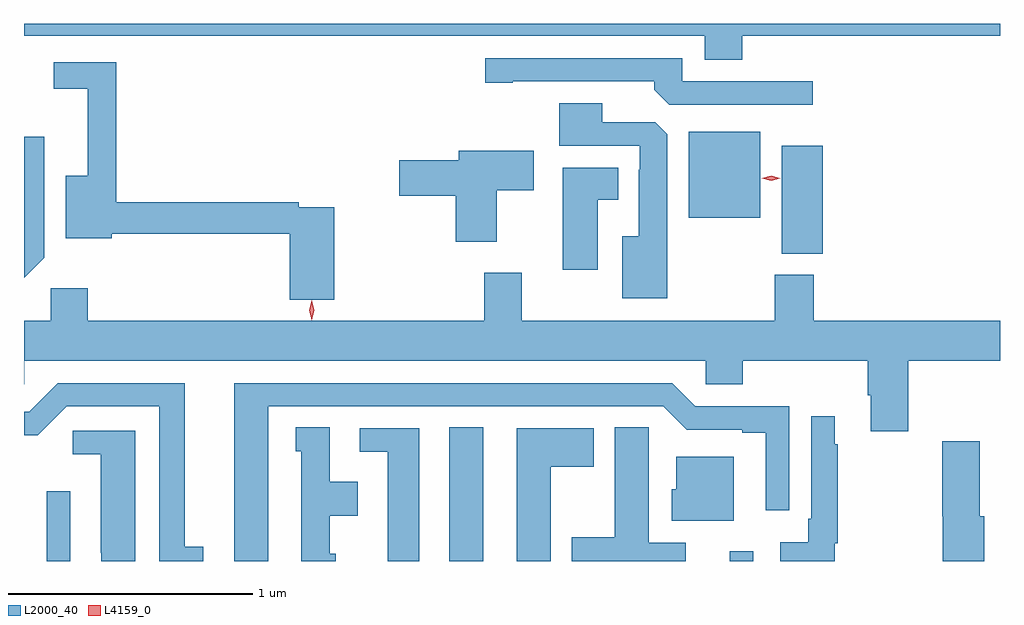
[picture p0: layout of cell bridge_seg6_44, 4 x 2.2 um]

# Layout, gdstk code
import gdstk
lib = gdstk.Library(unit=1e-6, precision=1e-09)
def R(c, l, rs):  # rectangles x0, y0, x1, y1
    for r in rs: c.add(gdstk.rectangle(r[:2], r[2:], *l))
def P(c, l, *ps):  # polygons
    for p in ps: c.add(gdstk.Polygon(p, *l))
L2000_40 = (2000, 40)
L4159_0 = (4159, 0)

bridge_seg6_44 = lib.new_cell('bridge_seg6_44')
R(bridge_seg6_44, L2000_40, [(1092.519,995.798,1092.615,996.085), (1094.168,995.798,1094.308,996.347), (1095.317,995.798,1095.414,995.839), (1095.53,997.057,1095.698,997.501), (1095.149,997.205,1095.442,997.558)])
P(bridge_seg6_44, L2000_40, [(1095.368,997.952),(1096.425,997.952),(1096.425,998),(1092.425,998),(1092.425,997.952),(1095.215,997.952),(1095.215,997.853),(1095.368,997.853)],
  [(1095.658,997.764),(1095.123,997.764),(1095.123,997.86),(1094.316,997.86),(1094.316,997.759),(1094.428,997.759),(1094.428,997.764),(1095.008,997.764),(1095.008,997.73),(1095.069,997.668),(1095.658,997.668)],
  [(1093.697,997.248),(1093.55,997.248),(1093.55,997.268),(1092.803,997.268),(1092.803,997.842),(1092.546,997.842),(1092.546,997.734),(1092.686,997.734),(1092.686,997.378),(1092.596,997.378),(1092.596,997.121),(1092.784,997.121),(1092.784,997.14),(1093.514,997.14),(1093.514,996.869),(1093.697,996.869)],
  [(1095.061,997.547),(1095.012,997.596),(1094.794,997.596),(1094.794,997.675),(1094.618,997.675),(1094.618,997.5),(1094.949,997.5),(1094.949,997.403),(1094.945,997.403),(1094.945,997.129),(1094.876,997.129),(1094.876,996.875),(1095.061,996.875)],
  [(1092.507,997.041),(1092.507,997.537),(1092.425,997.537),(1092.425,996.959)],
  [(1094.362,997.318),(1094.515,997.318),(1094.515,997.48),(1094.207,997.48),(1094.207,997.442),(1093.962,997.442),(1093.962,997.295),(1094.195,997.295),(1094.195,997.107),(1094.362,997.107)],
  [(1094.776,997.28),(1094.86,997.28),(1094.86,997.411),(1094.633,997.411),(1094.633,996.993),(1094.776,996.993)],
  [(1096.049,996.62),(1096.425,996.62),(1096.425,996.784),(1095.662,996.784),(1095.662,996.972),(1095.502,996.972),(1095.502,996.784),(1094.464,996.784),(1094.464,996.979),(1094.312,996.979),(1094.312,996.784),(1092.686,996.784),(1092.686,996.916),(1092.534,996.916),(1092.534,996.784),(1092.425,996.784),(1092.425,996.522),(1092.426,996.522),(1092.426,996.62),(1095.219,996.62),(1095.219,996.522),(1095.371,996.522),(1095.371,996.62),(1095.884,996.62),(1095.884,996.478),(1095.896,996.478),(1095.896,996.33),(1096.049,996.33)],
  [(1093.426,996.432),(1095.045,996.432),(1095.141,996.336),(1095.368,996.336),(1095.368,996.324),(1095.464,996.324),(1095.464,996.006),(1095.561,996.006),(1095.561,996.432),(1095.177,996.432),(1095.081,996.528),(1093.286,996.528),(1093.286,995.798),(1093.426,995.798)],
  [(1093.159,995.858),(1093.084,995.858),(1093.084,996.528),(1092.564,996.528),(1092.447,996.411),(1092.425,996.411),(1092.425,996.314),(1092.482,996.314),(1092.6,996.432),(1092.98,996.432),(1092.98,995.798),(1093.159,995.798)],
  [(1095.748,995.871),(1095.76,995.871),(1095.76,996.278),(1095.748,996.278),(1095.748,996.391),(1095.651,996.391),(1095.651,995.971),(1095.639,995.971),(1095.639,995.875),(1095.524,995.875),(1095.524,995.798),(1095.748,995.798)],
  [(1093.702,995.829),(1093.678,995.829),(1093.678,995.984),(1093.792,995.984),(1093.792,996.124),(1093.678,996.124),(1093.678,996.347),(1093.538,996.347),(1093.538,996.249),(1093.562,996.249),(1093.562,995.798),(1093.702,995.798)],
  [(1095.137,995.874),(1094.986,995.874),(1094.986,996.236),(1094.985,996.236),(1094.985,996.347),(1094.846,996.347),(1094.846,995.895),(1094.669,995.895),(1094.669,995.798),(1095.137,995.798)],
  [(1094.584,996.184),(1094.761,996.184),(1094.761,996.343),(1094.444,996.343),(1094.444,995.833),(1094.445,995.833),(1094.445,995.798),(1094.584,995.798)],
  [(1094.044,996.342),(1093.8,996.342),(1093.8,996.246),(1093.916,996.246),(1093.916,995.798),(1094.044,995.798)],
  [(1092.88,996.333),(1092.624,996.333),(1092.624,996.236),(1092.74,996.236),(1092.74,995.833),(1092.741,995.833),(1092.741,995.798),(1092.88,995.798)],
  [(1096.361,995.982),(1096.343,995.982),(1096.343,996.289),(1096.189,996.289),(1096.189,995.982),(1096.19,995.982),(1096.19,995.798),(1096.361,995.798)],
  [(1095.334,996.226),(1095.098,996.226),(1095.098,996.093),(1095.08,996.093),(1095.08,995.963),(1095.334,995.963)])
P(bridge_seg6_44, L4159_0, [(1095.487,997.358),(1095.449,997.367),(1095.449,997.367),(1095.449,997.367),(1095.487,997.377),(1095.525,997.368),(1095.525,997.368),(1095.525,997.368)],
  [(1093.604,996.786),(1093.604,996.786),(1093.594,996.826),(1093.604,996.867),(1093.604,996.867),(1093.604,996.867),(1093.614,996.826),(1093.604,996.786)])

lib.write_gds('bridge_seg6_44.gds')
